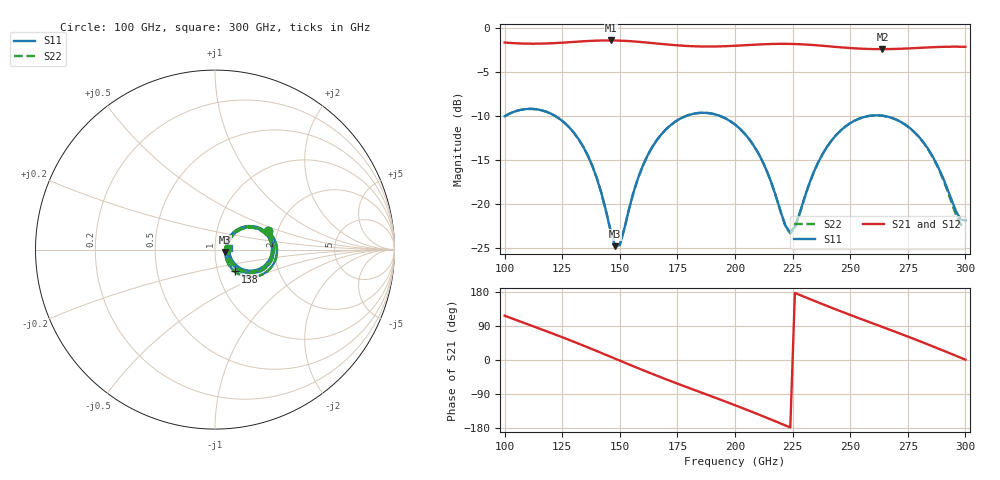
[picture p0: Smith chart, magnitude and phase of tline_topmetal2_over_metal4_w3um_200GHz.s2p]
#  GHZ S DB R 50
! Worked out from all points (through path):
!   101 points, 100 GHz to 300 GHz, reference 50 ohm
!   highest |S21| = -1.45 dB at 146 GHz (marker M1); lowest = -2.4 dB at 264 GHz (marker M2)
!   group delay of S21, straight-line fit = 6.63 ps
!   lowest |S11| = -24.8 dB at 148 GHz (marker M3), VSWR 1.12, Z = 55.9 - j1.51 ohm
!   |S11| at or under -10 dB: 121.7 GHz to 179.2 GHz (57.44 GHz wide, 38.2 % of centre); 193.1 GHz to 259.1 GHz (65.93 GHz wide, 29.2 % of centre); 264 GHz to end of sweep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
!   |S22| runs from -24.8 to -9.2 dB; largest |S21 - S12| = 1.4e-13
!   S11 on the Smith chart (normalised r, x): 100 GHz: 1.78, +0.41; 138 GHz: 1.21, -0.30; 300 GHz: 1.17, +0.02
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100  -10.07 19.1  -1.68 117.0  -1.68 117.0  -10.06 18.8
108  -9.29 3.9  -1.80 98.8  -1.80 98.8  -9.28 3.6
118  -9.54 -15.0  -1.79 76.3  -1.79 76.3  -9.54 -15.3
134  -13.47 -43.2  -1.55 38.5  -1.55 38.5  -13.47 -43.5
138  -15.66 -47.7  -1.49 28.6  -1.49 28.6  -15.66 -48.0
146  -23.07 -33.1  -1.45 8.5  -1.45 8.5  -23.06 -33.4
148  -24.83 -13.6  -1.45 3.4  -1.45 3.4  -24.81 -13.9
150  -24.70 11.4  -1.47 -1.7  -1.47 -1.7  -24.66 11.0
160  -15.68 42.3  -1.64 -26.7  -1.64 -26.7  -15.67 41.8
168  -12.13 31.9  -1.84 -46.0  -1.84 -46.0  -12.12 31.4
184  -9.70 3.6  -2.12 -82.8  -2.12 -82.8  -9.69 3.0
200  -11.00 -24.8  -2.05 -119.3  -2.05 -119.3  -11.00 -25.5
212  -15.22 -40.7  -1.89 -148.1  -1.89 -148.1  -15.23 -41.6
224  -23.25 -1.2  -1.84 -178.0  -1.84 -178.0  -23.37 -2.0
234  -16.53 39.8  -1.97 157.1  -1.97 157.1  -16.55 39.3
248  -11.21 23.7  -2.27 123.6  -2.27 123.6  -11.21 22.9
264  -10.00 -3.7  -2.43 87.1  -2.43 87.1  -10.00 -4.8
268  -10.24 -10.6  -2.42 78.0  -2.42 78.0  -10.24 -11.8
282  -13.10 -32.0  -2.26 45.3  -2.26 45.3  -13.14 -33.8
292  -18.18 -34.0  -2.16 20.8  -2.16 20.8  -18.38 -36.8
298  -21.80 -8.8  -2.16 5.9  -2.16 5.9  -22.39 -10.7
300  -21.91 5.7  -2.17 0.9  -2.17 0.9  -22.54 5.1
